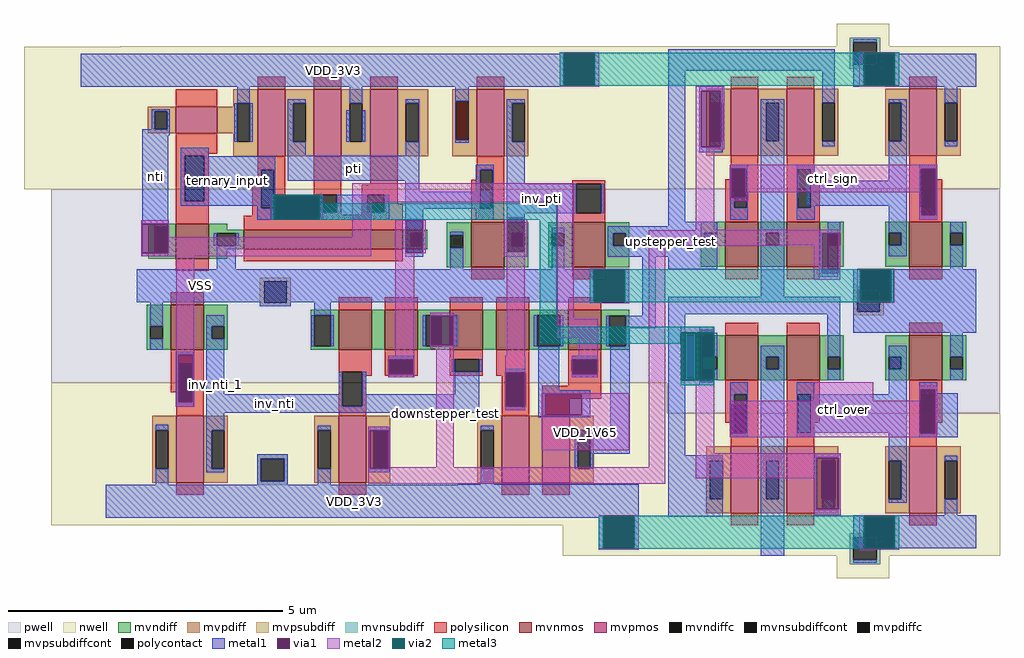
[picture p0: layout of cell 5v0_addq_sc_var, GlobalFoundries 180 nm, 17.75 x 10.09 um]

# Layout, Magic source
magic
tech gf180mcuD
magscale 1 10
<< nwell >>
rect -3042 407 -2759 649
rect -2691 629 -573 650
rect -2691 504 142 629
rect -2691 407 -573 504
rect -3042 132 -573 407
rect -3042 131 -702 132
rect -2942 -574 -2098 -573
rect -2942 -970 -702 -574
rect -2942 -1091 -634 -970
rect -1082 -1202 -634 -1091
rect -4 -1180 142 -1055
<< pwell >>
rect -2942 -114 -598 131
rect -2942 -131 -2744 -114
rect -2942 -135 -2667 -131
rect -2629 -135 -598 -114
rect -2942 -573 -598 -135
<< mvnmos >>
rect -1048 -153 -928 11
rect -2508 -453 -2388 -289
rect -1898 -454 -1778 -307
rect -1730 -454 -1610 -307
rect -1493 -454 -1373 -307
rect -1325 -454 -1205 -307
rect -1062 -454 -942 -307
<< mvpmos >>
rect -2488 -937 -2388 -693
rect -1898 -937 -1798 -694
rect -1305 -937 -1205 -694
rect -1157 -937 -1057 -694
<< mvndiff >>
rect -1136 -29 -1048 11
rect -1136 -75 -1123 -29
rect -1077 -75 -1048 -29
rect -1136 -153 -1048 -75
rect -928 -29 -840 11
rect -928 -75 -899 -29
rect -853 -75 -840 -29
rect -928 -153 -840 -75
rect -2596 -367 -2508 -289
rect -2596 -413 -2583 -367
rect -2537 -413 -2508 -367
rect -2596 -453 -2508 -413
rect -2388 -367 -2300 -289
rect -2388 -413 -2359 -367
rect -2313 -413 -2300 -367
rect -2388 -453 -2300 -413
rect -1999 -327 -1898 -307
rect -1999 -441 -1986 -327
rect -1927 -441 -1898 -327
rect -1999 -454 -1898 -441
rect -1778 -454 -1730 -307
rect -1610 -327 -1493 -307
rect -1610 -441 -1581 -327
rect -1522 -441 -1493 -327
rect -1610 -454 -1493 -441
rect -1373 -454 -1325 -307
rect -1205 -328 -1062 -307
rect -1205 -441 -1176 -328
rect -1091 -441 -1062 -328
rect -1205 -454 -1062 -441
rect -942 -330 -841 -307
rect -942 -441 -913 -330
rect -854 -441 -841 -330
rect -942 -454 -841 -441
<< mvpdiff >>
rect -2576 -746 -2488 -693
rect -2576 -886 -2563 -746
rect -2517 -886 -2488 -746
rect -2576 -937 -2488 -886
rect -2388 -746 -2300 -693
rect -2388 -886 -2359 -746
rect -2313 -886 -2300 -746
rect -1986 -746 -1898 -694
rect -2388 -937 -2300 -886
rect -1986 -886 -1973 -746
rect -1927 -886 -1898 -746
rect -1986 -937 -1898 -886
rect -1798 -746 -1710 -694
rect -1798 -886 -1769 -746
rect -1723 -886 -1710 -746
rect -1798 -937 -1710 -886
rect -1393 -746 -1305 -694
rect -1393 -886 -1380 -746
rect -1334 -886 -1305 -746
rect -1393 -937 -1305 -886
rect -1205 -937 -1157 -694
rect -1057 -746 -969 -694
rect -1057 -886 -1028 -746
rect -982 -886 -969 -746
rect -1057 -937 -969 -886
<< mvndiffc >>
rect -1491 -82 -1445 -36
rect -1123 -75 -1077 -29
rect -899 -75 -853 -29
rect -2583 -413 -2537 -367
rect -2359 -413 -2313 -367
rect -1986 -441 -1927 -327
rect -1581 -441 -1522 -327
rect -1176 -441 -1091 -328
rect -913 -441 -854 -330
<< mvpdiffc >>
rect -1471 311 -1425 451
rect -2563 -886 -2517 -746
rect -2359 -886 -2313 -746
rect -1973 -886 -1927 -746
rect -1769 -886 -1723 -746
rect -1380 -886 -1334 -746
rect -1028 -886 -982 -746
<< mvpsubdiff >>
rect -2184 -205 -2072 -192
rect -2184 -283 -2169 -205
rect -2087 -283 -2072 -205
rect -2184 -296 -2072 -283
<< mvnsubdiff >>
rect -2194 -849 -2082 -833
rect -2194 -931 -2181 -849
rect -2095 -931 -2082 -849
rect -2194 -945 -2082 -931
<< mvpsubdiffcont >>
rect -2169 -283 -2087 -205
<< mvnsubdiffcont >>
rect -2181 -931 -2095 -849
<< polysilicon >>
rect -1048 150 -928 163
rect -1048 44 -1034 150
rect -943 44 -928 150
rect -1048 11 -928 44
rect -2490 -166 -2370 -135
rect -1048 -197 -928 -153
rect -2508 -289 -2388 -245
rect -1898 -307 -1778 -263
rect -1730 -307 -1610 -263
rect -1493 -307 -1373 -263
rect -1325 -307 -1205 -263
rect -1062 -307 -942 -263
rect -2508 -504 -2388 -453
rect -2508 -607 -2475 -504
rect -2488 -644 -2475 -607
rect -2429 -644 -2388 -504
rect -2488 -693 -2388 -644
rect -1898 -533 -1778 -454
rect -1898 -659 -1884 -533
rect -1811 -547 -1778 -533
rect -1730 -487 -1610 -454
rect -1730 -533 -1717 -487
rect -1627 -533 -1610 -487
rect -1730 -547 -1610 -533
rect -1493 -487 -1373 -454
rect -1493 -534 -1476 -487
rect -1386 -534 -1373 -487
rect -1811 -659 -1798 -547
rect -1493 -548 -1373 -534
rect -1325 -535 -1205 -454
rect -1325 -547 -1291 -535
rect -1898 -694 -1798 -659
rect -1305 -661 -1291 -547
rect -1218 -661 -1205 -535
rect -1062 -487 -942 -454
rect -1062 -533 -1049 -487
rect -955 -533 -942 -487
rect -1062 -584 -942 -533
rect -1305 -694 -1205 -661
rect -1157 -631 -942 -584
rect -1157 -694 -1057 -631
rect -2488 -981 -2388 -937
rect -1898 -981 -1798 -937
rect -1305 -981 -1205 -937
rect -1157 -981 -1057 -937
<< polycontact >>
rect -1034 44 -943 150
rect -2475 -644 -2429 -504
rect -1884 -659 -1811 -533
rect -1717 -533 -1627 -487
rect -1476 -534 -1386 -487
rect -1291 -661 -1218 -535
rect -1049 -533 -955 -487
<< metal1 >>
rect -1094 627 -949 629
rect -1094 623 -1078 627
rect -2744 507 -1078 623
rect -966 507 -949 627
rect -698 624 -501 629
rect -168 628 -93 629
rect -26 627 142 628
rect -2744 504 -949 507
rect -26 507 13 627
rect 125 507 142 627
rect -26 504 142 507
rect -2744 503 -1092 504
rect -1473 451 -1425 503
rect -2611 5 -2518 348
rect -1473 311 -1471 451
rect -1473 299 -1425 311
rect -2472 109 -2128 251
rect -2082 161 -1604 252
rect -2472 71 -2134 109
rect -1654 59 -1348 122
rect -1287 44 -1034 150
rect -943 44 -932 150
rect -1491 -36 -1445 -25
rect -2611 -114 -2518 -102
rect -2518 -161 -2403 -160
rect -2341 -161 -2271 -135
rect -1491 -161 -1445 -82
rect -698 -4 -636 101
rect -1123 -29 -1077 -10
rect -1123 -161 -1077 -75
rect -919 -29 -521 -4
rect -919 -75 -899 -29
rect -853 -75 -521 -29
rect -919 -115 -521 -75
rect -2632 -205 -969 -161
rect -2632 -281 -2169 -205
rect -2583 -367 -2537 -281
rect -2184 -283 -2169 -281
rect -2087 -281 -969 -205
rect -857 -281 -840 -161
rect -2087 -283 -2072 -281
rect -2184 -296 -2072 -283
rect -1986 -327 -1927 -281
rect -2583 -453 -2537 -413
rect -2379 -367 -2313 -327
rect -2379 -413 -2359 -367
rect -2490 -472 -2425 -460
rect -2490 -645 -2481 -472
rect -2429 -645 -2425 -472
rect -2490 -661 -2425 -645
rect -2379 -616 -2313 -413
rect -1997 -441 -1986 -327
rect -1927 -441 -1916 -327
rect -1592 -441 -1581 -327
rect -1522 -330 -1466 -327
rect -1481 -437 -1466 -330
rect -1522 -441 -1466 -437
rect -1187 -441 -1176 -328
rect -1091 -441 -1080 -328
rect -794 -330 -744 -115
rect -924 -441 -913 -330
rect -854 -376 -744 -330
rect -26 -161 422 -160
rect -26 -281 0 -161
rect 112 -281 422 -161
rect -854 -441 -839 -376
rect -26 -392 422 -281
rect -1717 -487 -1627 -475
rect -1898 -616 -1884 -533
rect -2379 -659 -1884 -616
rect -1811 -616 -1798 -533
rect -1717 -542 -1715 -533
rect -1487 -534 -1476 -487
rect -1386 -534 -1375 -487
rect -1717 -554 -1627 -542
rect -1476 -616 -1386 -534
rect -1811 -659 -1386 -616
rect -2379 -682 -1386 -659
rect -1291 -535 -1218 -523
rect -1291 -673 -1218 -661
rect -1172 -601 -1095 -441
rect -1049 -487 -955 -475
rect -1049 -542 -1047 -533
rect -957 -542 -955 -533
rect -1049 -554 -955 -542
rect -1172 -616 -982 -601
rect -2563 -746 -2517 -727
rect -2563 -945 -2517 -886
rect -2379 -746 -2313 -682
rect -1172 -691 -1146 -616
rect -1013 -691 -982 -616
rect -1172 -699 -982 -691
rect -2379 -886 -2359 -746
rect -1973 -746 -1927 -729
rect -2379 -899 -2313 -886
rect -2194 -849 -2082 -833
rect -2194 -931 -2181 -849
rect -2095 -931 -2082 -849
rect -2194 -945 -2082 -931
rect -1973 -945 -1927 -886
rect -1789 -746 -1712 -733
rect -1789 -886 -1785 -746
rect -1716 -886 -1712 -746
rect -1789 -899 -1712 -886
rect -1380 -746 -1334 -729
rect -909 -746 -839 -441
rect -1039 -886 -1028 -746
rect -982 -831 -839 -746
rect -982 -886 -971 -831
rect -1380 -943 -1334 -886
rect -1463 -945 -806 -943
rect -2744 -1057 -806 -945
rect -2744 -1065 -935 -1057
rect -952 -1177 -935 -1065
rect -823 -1177 -806 -1057
rect -952 -1180 -806 -1177
rect -363 -1203 -277 -1010
rect -4 -1057 142 -1056
rect -4 -1177 13 -1057
rect 125 -1177 142 -1057
rect -4 -1180 142 -1177
<< via1 >>
rect -1078 507 -966 627
rect 13 507 125 627
rect -2134 21 -1967 109
rect -2611 -102 -2518 5
rect -1652 -101 -1592 18
rect -1284 -97 -1224 22
rect -969 -281 -857 -161
rect -2481 -504 -2429 -472
rect -2481 -644 -2475 -504
rect -2475 -644 -2429 -504
rect -2481 -645 -2429 -644
rect -1563 -437 -1522 -330
rect -1522 -437 -1481 -330
rect 0 -281 112 -161
rect -1715 -533 -1627 -487
rect -1715 -542 -1627 -533
rect -1289 -661 -1220 -535
rect -1047 -533 -957 -487
rect -1047 -542 -957 -533
rect -1146 -691 -1013 -616
rect -1785 -886 -1769 -746
rect -1769 -886 -1723 -746
rect -1723 -886 -1716 -746
rect -935 -1177 -823 -1057
rect 13 -1177 125 -1057
<< metal2 >>
rect -1094 627 -949 629
rect -1094 507 -1078 627
rect -966 507 -949 627
rect -1094 504 -949 507
rect -4 627 141 629
rect -4 507 13 627
rect 125 507 141 627
rect -4 504 141 507
rect -2146 109 -2133 111
rect -2146 21 -2134 109
rect -2146 19 -2133 21
rect -1967 19 -1955 111
rect -1848 84 -1042 153
rect -418 119 221 220
rect -2615 5 -2516 17
rect -2615 -102 -2611 5
rect -2518 -45 -2516 5
rect -1848 -45 -1779 84
rect -1287 22 -1221 28
rect -2518 -102 -1779 -45
rect -2615 -114 -1779 -102
rect -1692 18 -1580 20
rect -1692 -101 -1652 18
rect -1592 -101 -1580 18
rect -1692 -103 -1580 -101
rect -1296 -97 -1284 22
rect -1224 -97 -1212 22
rect -2488 -472 -2423 -114
rect -2488 -645 -2481 -472
rect -2429 -645 -2423 -472
rect -1692 -475 -1623 -103
rect -1296 -115 -1212 -97
rect -1565 -330 -1478 -318
rect -1565 -437 -1563 -330
rect -1481 -437 -1478 -330
rect -1565 -449 -1478 -437
rect -1717 -487 -1623 -475
rect -1717 -542 -1715 -487
rect -1627 -542 -1623 -487
rect -1717 -554 -1623 -542
rect -2488 -660 -2423 -645
rect -1789 -746 -1712 -733
rect -1789 -886 -1785 -746
rect -1716 -880 -1712 -746
rect -1543 -880 -1478 -449
rect -1287 -475 -1221 -115
rect -1102 -341 -1042 84
rect -770 -75 -309 -18
rect -985 -161 -840 -159
rect -985 -281 -969 -161
rect -857 -281 -840 -161
rect -985 -284 -840 -281
rect -1102 -410 -955 -341
rect -1024 -475 -955 -410
rect -1291 -535 -1218 -475
rect -1291 -661 -1289 -535
rect -1220 -661 -1218 -535
rect -1049 -487 -955 -475
rect -1049 -542 -1047 -487
rect -957 -542 -955 -487
rect -1049 -554 -955 -542
rect -1291 -673 -1218 -661
rect -1158 -616 -840 -611
rect -1158 -691 -1146 -616
rect -1013 -691 -840 -616
rect -1158 -818 -840 -691
rect -770 -880 -709 -75
rect -12 -161 124 -159
rect -12 -281 0 -161
rect 112 -281 124 -161
rect -12 -283 124 -281
rect -653 -392 -531 -370
rect -653 -582 -531 -564
rect -172 -772 47 -572
rect -1716 -886 -709 -880
rect -1789 -940 -709 -886
rect -1789 -941 -760 -940
rect -951 -1057 -806 -1055
rect -951 -1177 -935 -1057
rect -823 -1177 -806 -1057
rect -951 -1180 -806 -1177
rect -4 -1057 141 -1055
rect -4 -1177 13 -1057
rect 125 -1177 141 -1057
rect -4 -1180 141 -1177
<< via2 >>
rect -1078 507 -966 627
rect 13 507 125 627
rect -2133 109 -1967 111
rect -2133 21 -1967 109
rect -2133 19 -1967 21
rect -969 -281 -857 -161
rect 0 -281 112 -161
rect -653 -564 -531 -392
rect -935 -1177 -823 -1057
rect 13 -1177 125 -1057
<< metal3 >>
rect -1094 507 -1078 627
rect -966 507 13 627
rect 125 507 141 627
rect -2143 19 -2133 111
rect -1967 80 -1957 111
rect -1967 19 -1105 80
rect -1166 -370 -1105 19
rect -985 -281 -969 -161
rect -857 -281 0 -161
rect 112 -281 122 -161
rect -1166 -392 -531 -370
rect -1166 -431 -653 -392
rect -653 -582 -531 -564
rect -951 -1177 -935 -1057
rect -823 -1177 13 -1057
rect 125 -1177 141 -1057
use 5v0_half_adder_selector_sc  5v0_half_adder_selector_sc_0 /home/eclipse
transform -1 0 -82 0 1 -108
box -590 -1177 620 841
use inverter_pair_short  5v0_pti_sc_0 /home/eclipse
transform 1 0 -2280 0 1 -165
box -556 -142 925 814
use not_internal_variant_pair_nteroter  not_internal_0 /home/eclipse
transform 1 0 -1540 0 1 -221
box -86 -86 534 844
<< labels >>
rlabel metal2 -418 119 221 220 1 ctrl_sign
port 4 n signal bidirectional
rlabel metal2 -172 -772 47 -572 1 ctrl_over
port 5 n signal bidirectional
rlabel metal2 -1158 -818 -840 -691 1 VDD_1V65
port 7 n signal bidirectional
rlabel metal2 -1543 -933 -1478 -437 1 downstepper_test
port 8 n signal bidirectional
rlabel metal1 -853 -115 -521 -4 1 upstepper_test
port 9 n signal bidirectional
rlabel metal1 -1287 44 -1034 150 1 inv_pti
port 12 n signal bidirectional
rlabel metal1 -2082 161 -1604 252 1 pti
port 11 n signal bidirectional
rlabel metal1 -2472 71 -2134 251 1 ternary_input
port 15 n signal bidirectional
rlabel metal1 -2379 -682 -1884 -616 1 inv_nti
port 21 n signal bidirectional
rlabel metal1 -2379 -746 -2313 -413 1 inv_nti_1
port 22 n signal bidirectional
rlabel metal1 -2611 5 -2518 348 1 nti
port 23 n signal bidirectional
rlabel metal1 -2744 -1065 -935 -945 1 VDD_3V3
port 19 n power bidirectional
rlabel metal1 -2632 -281 -2169 -161 1 VSS
port 24 n ground bidirectional
rlabel metal1 -2744 503 -1092 623 1 VDD_3V3
port 19 n power bidirectional
<< end >>

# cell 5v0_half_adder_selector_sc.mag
magic
tech gf180mcuD
magscale 1 10
<< mvpsubdiff >>
rect -168 -129 -56 -116
rect -168 -207 -153 -129
rect -71 -207 -56 -129
rect -168 -220 -56 -207
<< mvpsubdiffcont >>
rect -153 -207 -71 -129
<< metal1 >>
rect -504 612 -56 732
rect 11 669 616 747
rect 11 553 57 669
rect 419 596 504 613
rect 419 391 425 596
rect 497 391 504 596
rect 419 373 504 391
rect -239 179 113 269
rect 555 120 616 669
rect -2 79 68 80
rect -504 -129 -56 -52
rect 56 -67 68 79
rect -2 -79 68 -67
rect -504 -207 -153 -129
rect -71 -207 -56 -129
rect 195 -153 280 34
rect 439 -52 616 120
rect -504 -284 -56 -207
rect -9 -216 616 -153
rect -9 -292 38 -216
rect 451 -274 504 -262
rect -354 -489 -300 -481
rect -437 -650 -354 -504
rect -244 -507 -191 -342
rect 90 -507 144 -478
rect -244 -517 145 -507
rect -240 -647 145 -517
rect -437 -664 -326 -650
rect -10 -738 86 -721
rect -10 -925 -3 -738
rect 78 -925 86 -738
rect 195 -902 281 -416
rect 451 -474 504 -462
rect 555 -729 616 -216
rect -10 -948 86 -925
rect -504 -1068 -56 -948
rect 419 -952 616 -729
<< via1 >>
rect 425 391 497 596
rect -357 144 -303 313
rect -2 -67 56 79
rect -354 -650 -300 -489
rect -3 -925 78 -738
rect 451 -462 504 -274
<< metal2 >>
rect 413 596 517 613
rect 413 391 425 596
rect 497 391 517 596
rect 413 384 517 391
rect -362 313 336 328
rect -362 144 -357 313
rect -303 227 336 313
rect -303 144 -297 227
rect -362 128 -297 144
rect 450 91 517 384
rect -9 79 517 91
rect -9 -67 -2 79
rect 56 34 517 79
rect 56 -67 87 34
rect -9 -90 87 -67
rect 449 -274 516 -262
rect 449 -462 451 -274
rect 504 -462 516 -274
rect -362 -489 -296 -477
rect -362 -650 -354 -489
rect -300 -531 -296 -489
rect -300 -650 393 -531
rect -362 -664 393 -650
rect 449 -721 516 -462
rect -11 -738 516 -721
rect -11 -813 -3 -738
rect -10 -925 -3 -813
rect 78 -813 516 -738
rect 78 -925 86 -813
rect -10 -948 86 -925
use tgate_custom  5v0_tgate_sel_2_sc_0
transform 1 0 0 0 1 0
box -590 -198 620 841
use tgate_custom  5v0_tgate_sel_2_sc_1
transform 1 0 0 0 -1 -336
box -590 -198 620 841
<< labels >>
rlabel metal2 13 -169 21 -146 5 5v0_tgate_sel_2_sc_1/input_A
port 1 n signal bidirectional
rlabel metal1 -504 -284 -56 -52 1 VSS
port 2 n ground bidirectional
rlabel metal1 -504 612 -56 732 1 VDD_3V3
port 3 n power bidirectional
rlabel metal1 195 -902 281 -416 1 result
port 4 n signal bidirectional
rlabel metal2 78 -813 516 -721 1 in_reg
port 5 n signal bidirectional
rlabel metal2 56 34 517 91 1 in_downstep
port 6 n signal bidirectional
rlabel metal1 11 669 616 747 1 in_upstep
port 7 n signal bidirectional
rlabel metal1 -504 -1068 -56 -948 1 VDD_3V3_uq0
port 8 n power bidirectional
rlabel metal2 -303 227 336 328 1 ctrl_sign
port 9 n signal bidirectional
rlabel metal1 195 -216 280 34 1 res_stage0
port 11 n signal bidirectional
<< end >>

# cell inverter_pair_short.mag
magic
tech gf180mcuD
magscale 1 10
<< nwell >>
rect -556 296 925 814
<< pwell >>
rect -556 4 925 296
rect -556 -1 -444 4
rect -435 -1 925 4
rect -556 -116 925 -1
rect -253 -142 925 -116
<< mvnmos >>
rect -210 43 -90 170
rect 38 77 616 149
<< mvpmos >>
rect -210 499 -60 595
rect 88 416 188 660
rect 292 416 392 660
rect 497 416 597 660
<< mvndiff >>
rect -310 157 -210 170
rect -310 63 -286 157
rect -239 63 -210 157
rect -310 43 -210 63
rect -90 149 -22 170
rect -90 136 38 149
rect -90 90 -61 136
rect 9 90 38 136
rect -90 77 38 90
rect 616 136 704 149
rect 616 90 645 136
rect 691 90 704 136
rect 616 77 704 90
rect -90 43 -22 77
<< mvpdiff >>
rect 0 609 88 660
rect 0 595 13 609
rect -311 580 -210 595
rect -311 513 -287 580
rect -241 513 -210 580
rect -311 499 -210 513
rect -60 499 13 595
rect 0 469 13 499
rect 59 469 88 609
rect 0 416 88 469
rect 188 609 292 660
rect 188 469 217 609
rect 263 469 292 609
rect 188 416 292 469
rect 392 609 497 660
rect 392 469 422 609
rect 468 469 497 609
rect 392 416 497 469
rect 597 609 709 660
rect 597 469 627 609
rect 673 469 709 609
rect 597 416 709 469
<< mvndiffc >>
rect -286 63 -239 157
rect -61 90 9 136
rect 645 90 691 136
<< mvpdiffc >>
rect -287 513 -241 580
rect 13 469 59 609
rect 217 469 263 609
rect 422 469 468 609
rect 627 469 673 609
<< polysilicon >>
rect 88 660 188 704
rect 292 660 392 704
rect 497 660 597 704
rect -210 595 -60 660
rect -210 425 -60 499
rect -210 418 -90 425
rect -210 251 -177 418
rect -106 251 -90 418
rect 88 367 188 416
rect 88 330 101 367
rect -210 170 -90 251
rect 68 227 101 330
rect 147 227 188 367
rect 68 202 188 227
rect 292 276 392 416
rect 497 311 597 416
rect 292 211 313 276
rect 375 211 392 276
rect 292 202 392 211
rect 466 276 597 311
rect 466 211 487 276
rect 549 243 597 276
rect 549 211 616 243
rect 466 202 616 211
rect 68 199 616 202
rect 38 149 616 199
rect -210 -1 -90 43
rect 38 33 616 77
<< polycontact >>
rect -177 251 -106 418
rect 101 227 147 367
rect 313 211 375 276
rect 487 211 549 276
<< metal1 >>
rect -556 668 840 788
rect 13 609 59 668
rect 198 609 263 622
rect -297 580 -231 587
rect -297 513 -287 580
rect -241 513 -231 580
rect -331 492 -231 513
rect -331 201 -238 492
rect 2 469 13 609
rect 59 469 70 609
rect 198 469 217 609
rect 422 609 468 668
rect 411 469 422 583
rect 627 609 676 622
rect 468 469 479 583
rect 673 469 676 609
rect -192 418 -90 446
rect -192 251 -177 418
rect -106 416 -90 418
rect 198 417 263 469
rect 627 417 676 469
rect -106 367 152 416
rect -106 251 101 367
rect -192 236 101 251
rect 86 227 101 236
rect 147 276 152 367
rect 198 326 676 417
rect 147 227 313 276
rect 86 211 313 227
rect 375 211 487 276
rect 549 211 566 276
rect -286 157 -239 201
rect 86 184 566 211
rect 625 224 676 326
rect 625 136 691 224
rect -72 90 -61 136
rect 9 90 20 136
rect 625 90 645 136
rect -286 52 -239 63
rect -61 4 9 90
rect 625 50 691 90
rect -352 -116 840 4
<< labels >>
rlabel metal1 -106 236 101 416 1 in
port 1 n signal bidirectional
rlabel metal1 -331 201 -238 513 1 nti
port 2 n signal bidirectional
rlabel metal1 198 326 676 417 1 pti
port 3 n signal bidirectional
rlabel metal1 -352 -116 840 4 1 VSS
port 4 n ground bidirectional
rlabel metal1 -556 668 840 788 1 VDD_3V3
port 5 n power bidirectional
<< end >>

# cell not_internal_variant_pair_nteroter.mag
magic
tech gf180mcuD
magscale 1 10
<< nwell >>
rect 109 352 455 779
<< pwell >>
rect -86 -86 534 352
<< mvnmos >>
rect 124 68 244 232
<< mvpmos >>
rect 144 472 244 716
<< mvndiff >>
rect 36 68 124 232
rect 244 192 332 232
rect 244 146 273 192
rect 319 146 332 192
rect 244 68 332 146
<< mvpdiff >>
rect 56 472 144 716
rect 244 665 332 716
rect 244 525 273 665
rect 319 525 332 665
rect 244 472 332 525
<< mvndiffc >>
rect 273 146 319 192
<< mvpdiffc >>
rect 273 525 319 665
<< polysilicon >>
rect 144 716 244 760
rect 144 423 244 472
rect 144 386 157 423
rect 124 283 157 386
rect 203 283 244 423
rect 124 232 244 283
rect 124 24 244 68
<< polycontact >>
rect 157 283 203 423
<< metal1 >>
rect 0 724 448 844
rect 253 665 319 678
rect 253 525 273 665
rect 142 423 207 440
rect 142 283 157 423
rect 203 283 207 423
rect 142 240 207 283
rect 253 192 319 525
rect 253 146 273 192
rect 253 106 319 146
rect 0 -60 448 60
<< properties >>
string FIXED_BBOX 0 0 448 784
string GDS_END 476332
string GDS_FILE $PDKPATH/libs.ref/gf180mcu_fd_sc_mcu7t5v0/gds/gf180mcu_fd_sc_mcu7t5v0.gds
string GDS_START 474136
string LEFclass core
string LEFsite GF018hv5v_mcu_sc7
string LEFsymmetry X Y
<< end >>

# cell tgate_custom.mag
magic
tech gf180mcuD
magscale 1 10
<< nwell >>
rect -188 840 0 841
rect -188 734 4 840
rect -184 733 4 734
rect -168 724 -26 733
<< mvnsubdiff >>
rect -155 773 -43 789
rect -155 691 -142 773
rect -56 691 -43 773
rect -155 677 -43 691
<< mvnsubdiffcont >>
rect -142 691 -56 773
<< metal1 >>
rect -142 773 -56 784
rect -504 691 -142 732
rect -504 612 -56 691
rect -249 167 -185 289
rect 84 207 91 289
rect 144 207 147 289
rect 195 207 280 566
rect -504 -172 -169 -52
<< via1 >>
rect 334 207 387 315
<< metal2 >>
rect 326 315 393 328
rect 326 207 334 315
rect 387 207 393 315
rect 326 194 393 207
use half_gate_0  gf180mcu_fd_sc_mcu7t5v0__inv_1_0
transform 1 0 -58 0 1 -112
box -86 -86 534 870
use half_gate_0  half_tgate_0
transform -1 0 534 0 1 -112
box -86 -86 534 870
use not_internal_mod  not_internal_0
transform 1 0 -504 0 1 -112
box -86 -86 534 870
<< labels >>
rlabel metal1 -504 612 -56 732 1 VDD_3V3
port 6 n power bidirectional
rlabel space -251 80 -185 413 1 not_test
port 7 n signal output
rlabel metal2 50 385 86 647 1 input_A
port 1 n signal bidirectional
rlabel metal1 -504 -172 -169 -52 1 VSS
port 4 n ground bidirectional
<< end >>

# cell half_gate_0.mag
magic
tech gf180mcuD
magscale 1 10
<< nwell >>
rect -86 352 534 870
<< pwell >>
rect -86 -86 534 352
<< mvnmos >>
rect 124 68 244 232
<< mvpmos >>
rect 144 472 244 716
<< mvndiff >>
rect 36 192 124 232
rect 36 146 49 192
rect 95 146 124 192
rect 36 68 124 146
rect 244 192 332 232
rect 244 146 273 192
rect 319 146 332 192
rect 244 68 332 146
<< mvpdiff >>
rect 56 665 144 716
rect 56 525 69 665
rect 115 525 144 665
rect 56 472 144 525
rect 244 665 332 716
rect 244 525 273 665
rect 319 525 332 665
rect 244 472 332 525
<< mvndiffc >>
rect 49 146 95 192
rect 273 146 319 192
<< mvpdiffc >>
rect 69 525 115 665
rect 273 525 319 665
<< polysilicon >>
rect 144 716 244 760
rect 144 423 244 472
rect 144 386 157 423
rect 124 283 157 386
rect 203 283 244 423
rect 124 232 244 283
rect 124 24 244 68
<< polycontact >>
rect 157 283 203 423
<< metal1 >>
rect 69 665 115 724
rect 69 506 115 525
rect 253 665 319 678
rect 253 525 273 665
rect 142 423 207 440
rect 142 283 157 423
rect 203 283 207 423
rect 142 240 207 283
rect 49 192 95 232
rect 49 60 95 146
rect 253 192 319 525
rect 253 146 273 192
rect 253 106 319 146
<< properties >>
string FIXED_BBOX 0 0 448 784
string GDS_END 476332
string GDS_FILE $PDKPATH/libs.ref/gf180mcu_fd_sc_mcu7t5v0/gds/gf180mcu_fd_sc_mcu7t5v0.gds
string GDS_START 474136
string LEFclass core
string LEFsite GF018hv5v_mcu_sc7
string LEFsymmetry X Y
<< end >>

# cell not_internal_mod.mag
magic
tech gf180mcuD
magscale 1 10
<< nwell >>
rect -86 352 534 870
<< pwell >>
rect -86 -86 534 352
<< mvnmos >>
rect 124 68 244 232
<< mvpmos >>
rect 144 472 244 716
<< mvndiff >>
rect 36 192 124 232
rect 36 146 49 192
rect 95 146 124 192
rect 36 68 124 146
rect 244 192 332 232
rect 244 146 273 192
rect 319 146 332 192
rect 244 68 332 146
<< mvpdiff >>
rect 56 665 144 716
rect 56 525 69 665
rect 115 525 144 665
rect 56 472 144 525
rect 244 665 332 716
rect 244 525 273 665
rect 319 525 332 665
rect 244 472 332 525
<< mvndiffc >>
rect 49 146 95 192
rect 273 146 319 192
<< mvpdiffc >>
rect 69 525 115 665
rect 273 525 319 665
<< polysilicon >>
rect 144 716 244 760
rect 144 423 244 472
rect 144 386 157 423
rect 124 283 157 386
rect 203 283 244 423
rect 124 232 244 283
rect 124 24 244 68
<< polycontact >>
rect 157 283 203 423
<< metal1 >>
rect 0 724 448 844
rect 69 665 115 724
rect 69 506 115 525
rect 253 665 319 678
rect 253 525 273 665
rect 142 423 207 440
rect 142 283 157 423
rect 203 283 207 423
rect 142 240 207 283
rect 49 192 95 232
rect 49 60 95 146
rect 253 192 319 525
rect 253 146 273 192
rect 253 106 319 146
rect 0 -60 448 60
<< properties >>
string FIXED_BBOX 0 0 448 784
string GDS_END 476332
string GDS_FILE $PDKPATH/libs.ref/gf180mcu_fd_sc_mcu7t5v0/gds/gf180mcu_fd_sc_mcu7t5v0.gds
string GDS_START 474136
string LEFclass core
string LEFsite GF018hv5v_mcu_sc7
string LEFsymmetry X Y
<< end >>
